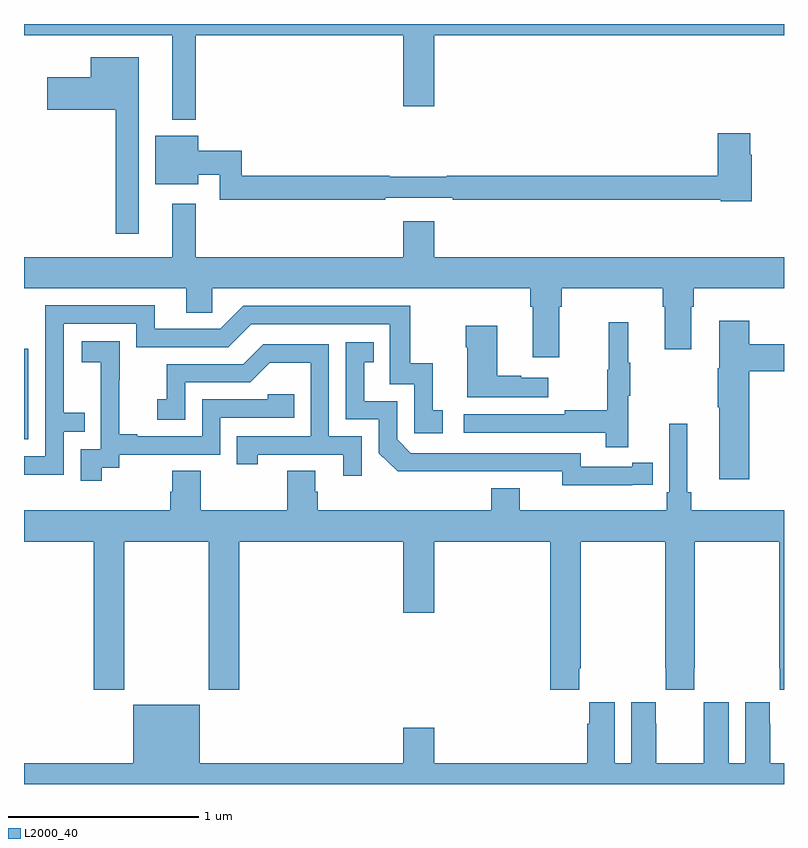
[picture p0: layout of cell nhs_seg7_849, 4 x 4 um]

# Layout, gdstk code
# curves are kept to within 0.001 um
import gdstk
lib = gdstk.Library(unit=1e-6, precision=1e-09)
def R(c, l, rs):  # rectangles x0, y0, x1, y1
    for r in rs: c.add(gdstk.rectangle(r[:2], r[2:], *l))
def P(c, l, *ps):  # polygons
    for p in ps: c.add(gdstk.Polygon(p, *l))
L2000_40 = (2000, 40)

nhs_seg7_849 = lib.new_cell('nhs_seg7_849')
R(nhs_seg7_849, L2000_40, [(175,1007.814,175.023,1008.291)])
P(nhs_seg7_849, L2000_40, [(175.903,1009.94),(176.996,1009.94),(176.996,1009.566),(177.16,1009.566),(177.16,1009.94),(179,1009.94),(179,1010),(175,1010),(175,1009.94),(175.781,1009.94),(175.781,1009.496),(175.903,1009.496)],
  [(175.603,1009.825),(175.352,1009.825),(175.352,1009.72),(175.122,1009.72),(175.122,1009.55),(175.482,1009.55),(175.482,1008.897),(175.603,1008.897)],
  [(178.83,1009.313),(178.822,1009.313),(178.822,1009.426),(178.652,1009.426),(178.652,1009.202),(177.224,1009.202),(177.224,1009.195),(176.924,1009.195),(176.924,1009.202),(176.147,1009.202),(176.147,1009.334),(175.918,1009.334),(175.918,1009.411),(175.691,1009.411),(175.691,1009.157),(175.918,1009.157),(175.918,1009.206),(176.031,1009.206),(176.031,1009.074),(176.9,1009.074),(176.9,1009.086),(177.256,1009.086),(177.256,1009.074),(178.668,1009.074),(178.668,1009.066),(178.83,1009.066)],
  [(177.817,1008.512),(177.83,1008.512),(177.83,1008.608),(178.361,1008.608),(178.361,1008.512),(178.373,1008.512),(178.373,1008.288),(178.513,1008.288),(178.513,1008.512),(178.526,1008.512),(178.526,1008.608),(179,1008.608),(179,1008.772),(177.16,1008.772),(177.16,1008.961),(176.996,1008.961),(176.996,1008.772),(175.903,1008.772),(175.903,1009.054),(175.781,1009.054),(175.781,1008.772),(175,1008.772),(175,1008.608),(175.853,1008.608),(175.853,1008.481),(175.992,1008.481),(175.992,1008.608),(177.665,1008.608),(177.665,1008.512),(177.677,1008.512),(177.677,1008.246),(177.817,1008.246)],
  [(175.209,1007.853),(175.319,1007.853),(175.319,1007.954),(175.209,1007.954),(175.209,1008.423),(175.59,1008.423),(175.59,1008.3),(176.076,1008.3),(176.196,1008.42),(176.925,1008.42),(176.925,1008.105),(177.054,1008.105),(177.054,1007.847),(177.205,1007.847),(177.205,1007.967),(177.152,1007.967),(177.152,1008.214),(177.034,1008.214),(177.034,1008.516),(176.154,1008.516),(176.034,1008.396),(175.687,1008.396),(175.687,1008.519),(175.113,1008.519),(175.113,1007.724),(175,1007.724),(175,1007.628),(175.209,1007.628)],
  [(178.817,1008.173),(179,1008.173),(179,1008.315),(178.817,1008.315),(178.817,1008.439),(178.658,1008.439),(178.658,1008.189),(178.651,1008.189),(178.651,1007.983),(178.658,1007.983),(178.658,1007.604),(178.817,1007.604)],
  [(178.181,1008.043),(178.192,1008.043),(178.192,1008.217),(178.181,1008.217),(178.181,1008.43),(178.078,1008.43),(178.078,1008.18),(178.071,1008.18),(178.071,1007.966),(177.847,1007.966),(177.847,1007.946),(177.315,1007.946),(177.315,1007.85),(178.063,1007.85),(178.063,1007.772),(178.181,1007.772)],
  [(177.76,1008.139),(177.617,1008.139),(177.617,1008.149),(177.49,1008.149),(177.49,1008.412),(177.325,1008.412),(177.325,1008.299),(177.332,1008.299),(177.332,1008.035),(177.76,1008.035)],
  [(175.408,1007.665),(175.5,1007.665),(175.5,1007.733),(176.034,1007.733),(176.034,1007.928),(176.423,1007.928),(176.423,1008.051),(176.283,1008.051),(176.283,1008.024),(175.938,1008.024),(175.938,1007.829),(175.597,1007.829),(175.597,1007.842),(175.502,1007.842),(175.502,1008.125),(175.503,1008.125),(175.503,1008.331),(175.305,1008.331),(175.305,1008.221),(175.403,1008.221),(175.403,1007.993),(175.404,1007.993),(175.404,1007.763),(175.299,1007.763),(175.299,1007.595),(175.408,1007.595)],
  [(178.202,1007.574),(178.31,1007.574),(178.31,1007.69),(178.202,1007.69),(178.202,1007.67),(177.93,1007.67),(177.93,1007.742),(177.036,1007.742),(176.964,1007.814),(176.964,1008.015),(176.791,1008.015),(176.791,1008.219),(176.84,1008.219),(176.84,1008.325),(176.694,1008.325),(176.694,1007.919),(176.868,1007.919),(176.868,1007.742),(176.966,1007.645),(177.834,1007.646),(177.834,1007.573)],
  [(176.778,1007.829),(176.604,1007.829),(176.604,1008.315),(176.258,1008.315),(176.153,1008.21),(175.75,1008.21),(175.75,1008.025),(175.701,1008.025),(175.701,1007.916),(175.848,1007.916),(175.848,1008.114),(176.19,1008.114),(176.294,1008.218),(176.508,1008.218),(176.508,1007.829),(176.119,1007.829),(176.119,1007.682),(176.23,1007.682),(176.23,1007.733),(176.681,1007.733),(176.681,1007.622),(176.778,1007.622)],
  [(175.527,1007.276),(175.972,1007.276),(175.972,1006.497),(176.132,1006.497),(176.132,1007.276),(176.996,1007.276),(176.996,1006.902),(177.16,1006.902),(177.16,1007.276),(177.77,1007.276),(177.77,1006.497),(177.923,1006.497),(177.923,1006.609),(177.93,1006.609),(177.93,1007.276),(178.375,1007.276),(178.375,1006.609),(178.377,1006.609),(178.377,1006.497),(178.527,1006.497),(178.527,1006.609),(178.53,1006.609),(178.53,1007.276),(178.975,1007.276),(178.975,1006.609),(178.977,1006.609),(178.977,1006.497),(179,1006.497),(179,1007.44),(178.511,1007.44),(178.511,1007.536),(178.492,1007.536),(178.492,1007.896),(178.395,1007.896),(178.395,1007.536),(178.382,1007.536),(178.382,1007.44),(177.61,1007.44),(177.61,1007.557),(177.458,1007.557),(177.458,1007.44),(176.546,1007.44),(176.546,1007.538),(176.533,1007.538),(176.533,1007.648),(176.386,1007.648),(176.386,1007.44),(175.929,1007.44),(175.929,1007.648),(175.781,1007.648),(175.781,1007.538),(175.769,1007.538),(175.769,1007.44),(175,1007.44),(175,1007.276),(175.367,1007.276),(175.367,1006.497),(175.527,1006.497)],
  [(179,1006.108),(178.927,1006.108),(178.927,1006.316),(178.926,1006.316),(178.926,1006.429),(178.796,1006.429),(178.796,1006.108),(178.708,1006.108),(178.708,1006.429),(178.578,1006.429),(178.578,1006.316),(178.577,1006.316),(178.577,1006.108),(178.327,1006.108),(178.327,1006.316),(178.326,1006.316),(178.326,1006.429),(178.196,1006.429),(178.196,1006.108),(178.108,1006.108),(178.108,1006.429),(177.974,1006.429),(177.974,1006.316),(177.965,1006.316),(177.965,1006.108),(177.16,1006.108),(177.16,1006.297),(176.996,1006.297),(176.996,1006.108),(175.924,1006.108),(175.924,1006.417),(175.574,1006.417),(175.574,1006.108),(175,1006.108),(175,1006),(179,1006)])

lib.write_gds('nhs_seg7_849.gds')
